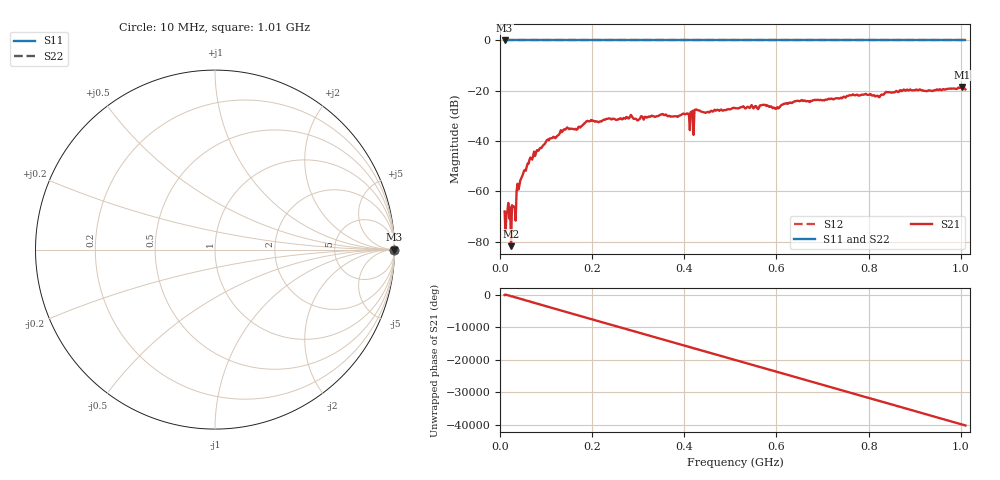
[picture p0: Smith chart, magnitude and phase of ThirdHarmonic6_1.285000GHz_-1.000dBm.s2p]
! 8/16/2025 2:01:06 PM
! C:\ANRITSUVNA\TEMP\TEMP.S2P
! CHANNEL.1
! TR.MEASUREMENT
! RAW.DATA
! RF.CORRECTION.OFF
! AVERAGING.OFF
! IF.BANDWIDTH: 5KHZ
! SWEEPTYPE:  FREQ.SWEEP(Linear)
! Reference Plane Port Info
! PORT:  PORT1  PORT2
! DISTANCE:  0  m  0  m
! TIME:  0  s  0  s
! PHASE.OFFSET:  0  deg.  0  deg.
! LOSS:  0  dB  0  dB
! REF.LOSS:  0  dB  0  dB
! REF.FREQ:  0  Hz  0  Hz
! Power Info
! POWER:  -20  dBm  -20  dBm
! EFF.POWER:  -20  dBm  -20  dBm
! SOURCE.ATTEN:  0  dB  0  dB
! TEST.ATTEN:  0  dB  0  dB
# GHZ S RI R 50.0
! FREQ.GHZ  S11RE  S11IM  S21RE  S21IM  S12RE  S12IM  S22RE  S22IM
!; PortSelection: Port_12
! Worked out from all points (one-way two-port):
!   501 points, 10 MHz to 1.01 GHz, reference 50 ohm
!   highest |S21| = -18.48 dB at 1.002 GHz (marker M1); lowest = -81.8 dB at 24 MHz (marker M2)
!   lowest |S11| = 0.0 dB at 10 MHz (marker M3)
!   |S11| at or under -10 dB: nowhere
!   |S22| runs from 0.0 to 0.0 dB; largest |S21 - S12| = 1.1
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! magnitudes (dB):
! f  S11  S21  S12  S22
! 10 MHz  0.0  -68.0  0.0  0.0
! 16 MHz  0.0  -68.0  0.0  0.0
! 18 MHz  0.0  -64.6  0.0  0.0
! 20 MHz  0.0  -70.8  0.0  0.0
! 24 MHz  0.0  -81.8  0.0  0.0
! 32 MHz  0.0  -66.6  0.0  0.0
! 40 MHz  0.0  -59.3  0.0  0.0
! 70 MHz  0.0  -47.4  0.0  0.0
! 104 MHz  0.0  -39.4  0.0  0.0
! 136 MHz  0.0  -36.1  0.0  0.0
! 178 MHz  0.0  -34.0  0.0  0.0
! 194 MHz  0.0  -32.2  0.0  0.0
! 344 MHz  0.0  -30.0  0.0  0.0
! 406 MHz  0.0  -29.0  0.0  0.0
! 416 MHz  0.0  -28.5  0.0  0.0
! 426 MHz  0.0  -27.4  0.0  0.0
! 510 MHz  0.0  -26.9  0.0  0.0
! 602 MHz  0.0  -26.5  0.0  0.0
! 678 MHz  0.0  -24.0  0.0  0.0
! 844 MHz  0.0  -20.5  0.0  0.0
! 1.002 GHz  0.0  -18.5  0.0  0.0
! 1.01 GHz  0.0  -19.4  0.0  0.0
